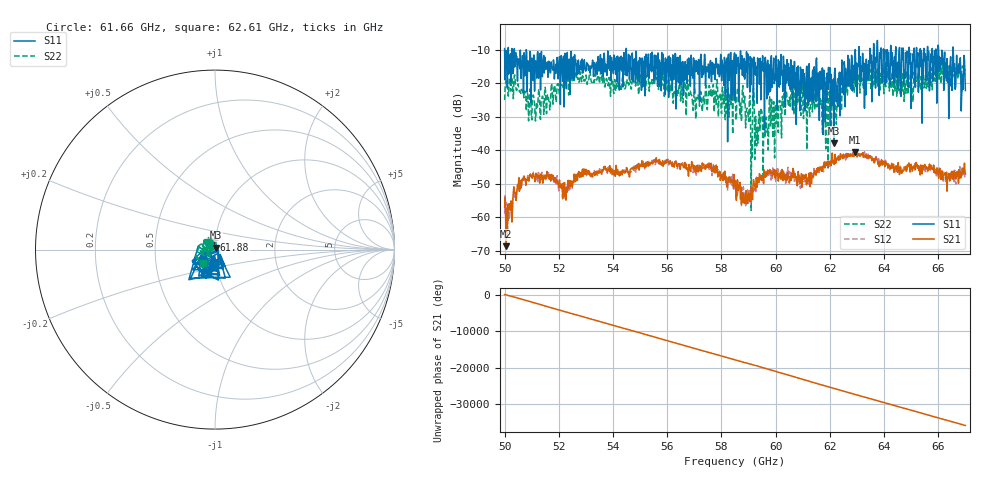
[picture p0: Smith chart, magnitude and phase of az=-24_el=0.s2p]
!Created with skrf (http://scikit-rf.org).
# GHz S RI R 50.0
!freq ReS11 ImS11 ReS21 ImS21 ReS12 ImS12 ReS22 ImS22
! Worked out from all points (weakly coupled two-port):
!   1001 points, 50 GHz to 67 GHz, reference 50 ohm
!   highest |S21| = -40.57 dB at 62.92 GHz (marker M1); lowest = -68.6 dB at 50.05 GHz (marker M2)
!   lowest |S11| = -37.9 dB at 62.16 GHz (marker M3), VSWR 1.03, Z = 50.7 + j1.05 ohm
!   |S11| at or under -10 dB: 50.8 GHz to 54.49 GHz (3.687 GHz wide, 7 % of centre); 54.49 GHz to 62.94 GHz (8.447 GHz wide, 14.4 % of centre); 66.01 GHz to 66.54 GHz (527.9 MHz wide, 0.796 % of centre) (the widest 3 of 30)
!   |S22| runs from -58.0 to -13.9 dB; largest |S21 - S12| = 0.0023
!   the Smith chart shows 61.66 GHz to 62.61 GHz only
!   S11 on the Smith chart (normalised r, x): 61.66 GHz: 0.98, -0.16; 61.88 GHz: 0.99, +0.11; 62.61 GHz: 0.87, -0.11
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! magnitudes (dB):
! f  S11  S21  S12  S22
! 50 GHz  -9.7  -56.9  -58.9  -25.0
! 50.05 GHz  -10.2  -68.6  -64.4  -19.2
! 50.9 GHz  -16.4  -49.2  -48.4  -28.5
! 52.19 GHz  -27.1  -53.0  -54.4  -19.9
! 52.84 GHz  -13.6  -47.8  -47.8  -19.5
! 55.68 GHz  -13.5  -43.9  -43.4  -21.9
! 58.5 GHz  -25.3  -50.7  -49.4  -24.0
! 58.94 GHz  -13.3  -55.9  -53.8  -27.4
! 59.06 GHz  -12.0  -53.4  -53.2  -25.9
! 59.61 GHz  -12.5  -48.1  -46.3  -36.2
! 59.84 GHz  -11.8  -46.4  -46.8  -24.8
! 60.03 GHz  -14.6  -47.7  -47.0  -32.0
! 60.64 GHz  -14.7  -45.4  -46.6  -22.3
! 61.34 GHz  -24.9  -47.4  -47.1  -25.9
! 61.66 GHz  -21.9  -45.1  -45.9  -26.3
! 61.88 GHz  -25.2  -44.1  -44.0  -23.6
! 62.16 GHz  -37.9  -43.2  -44.3  -28.6
! 62.61 GHz  -20.9  -42.1  -41.1  -20.3
! 62.92 GHz  -15.6  -40.6  -41.5  -19.8
! 64.18 GHz  -17.8  -44.4  -43.8  -18.7
! 66.06 GHz  -15.8  -46.0  -45.5  -14.8
! 67 GHz  -22.2  -47.1  -46.2  -15.8
